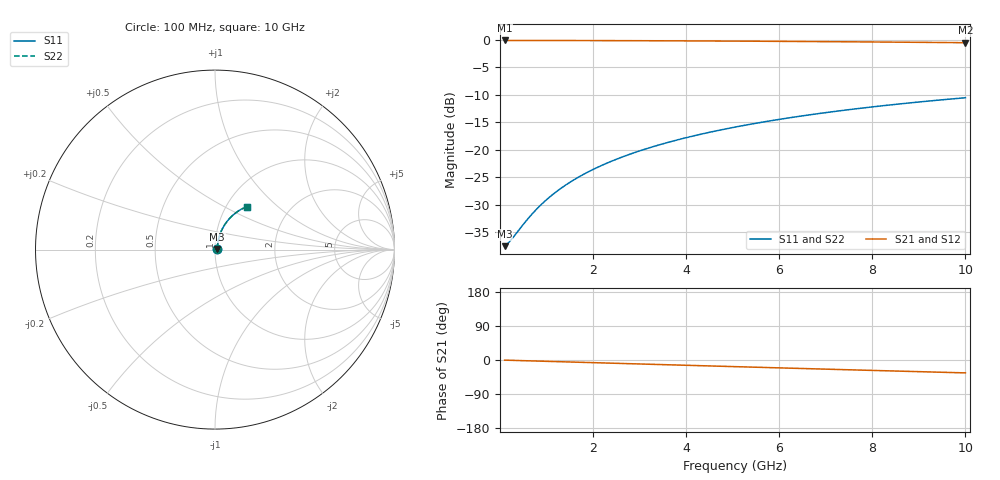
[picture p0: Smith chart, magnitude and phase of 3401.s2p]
# Hz S RI R 50.00
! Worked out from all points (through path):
!   100 points, 100 MHz to 10 GHz, reference 50 ohm
!   highest |S21| = -0.11 dB at 100 MHz (marker M1); lowest = -0.5 dB at 10 GHz (marker M2)
!   group delay of S21, straight-line fit = 9.46 ps
!   lowest |S11| = -37.6 dB at 100 MHz (marker M3), VSWR 1.03, Z = 51.3 + j0.325 ohm
!   |S11| at or under -10 dB: start of sweep to end of sweep
!   |S22| runs from -37.6 to -10.6 dB; largest |S21 - S12| = 0
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1e8  0.0128 0.00317  0.9872 -0.00603  0.9872 -0.00603  0.0128 0.00317
2e8  0.013 0.00633  0.987 -0.0121  0.987 -0.0121  0.013 0.00633
3e8  0.0131 0.00949  0.9868 -0.0181  0.9868 -0.0181  0.0131 0.00949
5e8  0.0135 0.0158  0.9864 -0.0301  0.9864 -0.0301  0.0135 0.0158
7e8  0.014 0.0221  0.9857 -0.0422  0.9857 -0.0422  0.014 0.0221
8e8  0.0144 0.0253  0.9853 -0.0482  0.9853 -0.0482  0.0144 0.0253
1e9  0.0151 0.0315  0.9844 -0.0602  0.9844 -0.0602  0.0151 0.0315
1.2e9  0.016 0.0378  0.9834 -0.0722  0.9834 -0.0722  0.016 0.0378
1.4e9  0.0171 0.044  0.9821 -0.0841  0.9821 -0.0841  0.0171 0.044
1.6e9  0.0182 0.0502  0.9807 -0.096  0.9807 -0.096  0.0182 0.0502
1.8e9  0.0196 0.0564  0.979 -0.1079  0.979 -0.1079  0.0196 0.0564
2.1e9  0.0219 0.0655  0.9763 -0.1257  0.9763 -0.1257  0.0219 0.0655
2.5e9  0.0254 0.0776  0.9719 -0.1493  0.9719 -0.1493  0.0254 0.0776
2.9e9  0.0295 0.0895  0.9669 -0.1726  0.9669 -0.1726  0.0295 0.0895
3.4e9  0.0355 0.1039  0.9596 -0.2014  0.9596 -0.2014  0.0355 0.1039
4.2e9  0.0467 0.1262  0.9459 -0.2467  0.9459 -0.2467  0.0467 0.1262
5.1e9  0.0617 0.1496  0.9273 -0.296  0.9273 -0.296  0.0617 0.1496
5.9e9  0.077 0.1689  0.9083 -0.3383  0.9083 -0.3383  0.077 0.1689
6.7e9  0.0939 0.1864  0.8871 -0.3789  0.8871 -0.3789  0.0939 0.1864
7.5e9  0.1122 0.2022  0.8639 -0.4178  0.8639 -0.4178  0.1122 0.2022
8.4e9  0.1343 0.2176  0.8357 -0.4592  0.8357 -0.4592  0.1343 0.2176
1e10  0.1763 0.2388  0.7809 -0.5268  0.7809 -0.5268  0.1763 0.2388
